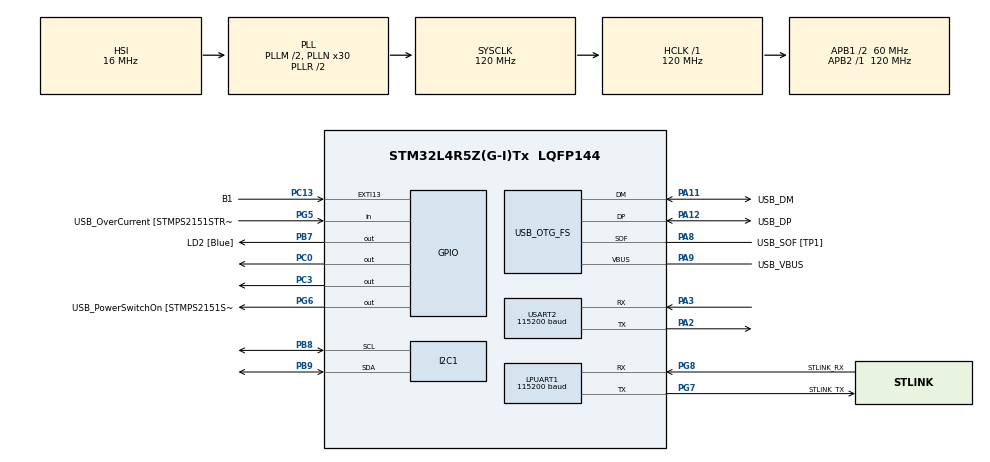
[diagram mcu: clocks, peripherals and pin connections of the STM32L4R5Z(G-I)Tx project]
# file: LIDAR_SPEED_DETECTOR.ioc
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I2C1.Timing=0x107075B0
LPUART1.BaudRate=115200
LPUART1.WordLength=UART_WORDLENGTH_8B
Mcu.Family=STM32L4
Mcu.Name=STM32L4R5Z(G-I)Tx
Mcu.Package=LQFP144
NVIC.PriorityGroup=NVIC_PRIORITYGROUP_4
PA10.GPIO_Label=USB_ID
PA10.Signal=USB_OTG_FS_ID
PA11.GPIO_Label=USB_DM
PA11.Mode=Device_Only
PA11.Signal=USB_OTG_FS_DM
PA12.GPIO_Label=USB_DP
PA12.Mode=Device_Only
PA12.Signal=USB_OTG_FS_DP
PA13\ (JTMS/SWDIO).GPIO_Label=TMS
PA13\ (JTMS/SWDIO).Mode=Trace_Asynchronous_SW
PA13\ (JTMS/SWDIO).Signal=SYS_JTMS-SWDIO
PA14\ (JTCK/SWCLK).GPIO_Label=TCK
PA14\ (JTCK/SWCLK).Mode=Trace_Asynchronous_SW
PA14\ (JTCK/SWCLK).Signal=SYS_JTCK-SWCLK
PA2.Mode=Asynchronous
PA2.Signal=USART2_TX
PA3.Mode=Asynchronous
PA3.Signal=USART2_RX
PA8.GPIO_Label=USB_SOF [TP1]
PA8.Mode=Activate_SOF_FS
PA8.Signal=USB_OTG_FS_SOF
PA9.GPIO_Label=USB_VBUS
PA9.Mode=Activate_VBUS
PA9.Signal=USB_OTG_FS_VBUS
PB3\ (JTDO/TRACESWO).GPIO_Label=SWO
PB3\ (JTDO/TRACESWO).Mode=Trace_Asynchronous_SW
PB3\ (JTDO/TRACESWO).Signal=SYS_JTDO-SWO
PB7.GPIO_Label=LD2 [Blue]
PB7.Signal=GPIO_Output
PB8.Mode=I2C
PB8.Signal=I2C1_SCL
PB9.Mode=I2C
PB9.Signal=I2C1_SDA
PC0.Signal=GPIO_Output
PC13.GPIO_Label=B1
PC13.Signal=GPXTI13
PC14-OSC32_IN\ (PC14).Mode=LSE-External-Oscillator
PC14-OSC32_IN\ (PC14).Signal=RCC_OSC32_IN
PC15-OSC32_OUT\ (PC15).Mode=LSE-External-Oscillator
PC15-OSC32_OUT\ (PC15).Signal=RCC_OSC32_OUT
PC3.Signal=GPIO_Output
PG5.GPIO_Label=USB_OverCurrent [STMPS2151STR_FAULT]
PG5.Signal=GPIO_Input
PG6.GPIO_Label=USB_PowerSwitchOn [STMPS2151STR_EN]
PG6.Signal=GPIO_Output
PG7.GPIO_Label=STLINK_TX
PG7.Mode=Asynchronous
PG7.Signal=LPUART1_TX
PG8.GPIO_Label=STLINK_RX
PG8.Mode=Asynchronous
PG8.Signal=LPUART1_RX
PH0-OSC_IN\ (PH0).Mode=HSE-External-Oscillator
PH0-OSC_IN\ (PH0).Signal=RCC_OSC_IN
PH1-OSC_OUT\ (PH1).Mode=HSE-External-Oscillator
PH1-OSC_OUT\ (PH1).Signal=RCC_OSC_OUT
ProjectManager.HeapSize=0x200
ProjectManager.StackSize=0x400
ProjectManager.TargetToolchain=STM32CubeIDE
RCC.48MHZClocksFreq_Value=24000000
RCC.ADCFreq_Value=96000000
RCC.AHBFreq_Value=120000000
RCC.APB1CLKDivider=RCC_HCLK_DIV2
RCC.APB1Freq_Value=60000000
RCC.APB1TimFreq_Value=120000000
RCC.APB2Freq_Value=120000000
RCC.APB2TimFreq_Value=120000000
RCC.CK48CLockSelection=RCC_USBCLKSOURCE_HSI48
RCC.CortexFreq_Value=120000000
RCC.HCLKFreq_Value=120000000
RCC.HSE_VALUE=8000000
RCC.HSI48_VALUE=48000000
RCC.HSI_VALUE=16000000
RCC.MSI_VALUE=4000000
RCC.PLLM1=2
RCC.PLLMUL=RCC_PLL_MUL9
RCC.PLLN=30
RCC.PLLSAI1N=12
RCC.PLLSourceVirtual=RCC_PLLSOURCE_HSI
RCC.PRESCALERUSB=RCC_USBCLKSOURCE_PLL_DIV1_5
RCC.SYSCLKFreq_VALUE=120000000
RCC.SYSCLKSource=RCC_SYSCLKSOURCE_PLLCLK
RCC.SYSCLKSourceVirtual=RCC_SYSCLKSOURCE_PLLCLK
RCC.USBFreq_Value=48000000
RCC.VCOOutputFreq_Value=240000000
USART2.BaudRate=115200
USART2.DataInvertParam=ADVFEATURE_DATAINV_DISABLE
USART2.OverrunDisableParam=ADVFEATURE_OVERRUN_DISABLE
USART2.VirtualMode-Asynchronous=VM_ASYNC
USART2.WordLength=WORDLENGTH_8B
USB_OTG_FS.VirtualMode=Device_Only
board=NUCLEO-L4R5ZI

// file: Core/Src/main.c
/* USER CODE BEGIN Header */
/**
  ******************************************************************************
  * @author			: Christopher Saji
  * @file           : main.c
  * @brief          : LIDAR Speed Detector Project
  ******************************************************************************
  * @attention
  *
  * Copyright (c) 2023 STMicroelectronics.
  * All rights reserved.
  *
  * This software is licensed under terms that can be found in the LICENSE file
  * in the root directory of this software component.
  * If no LICENSE file comes with this software, it is provided AS-IS.
  *
  ******************************************************************************
  * @materials
  *
  * STM32 NUCLEO-L4R5ZI
  *
  * Benewake TF03 LIDAR Sensor
  *
  * 1602 LCD Display
  *
  * Breadboard
  *
  * 2.54 Dupont Jumper Cables
  *
  * Molex Picoblade 1.25 mm Connector
  *
  */

/* USER CODE END Header */
#include "main.h"

/* USER CODE BEGIN Includes */

#include <string.h>
#include <stdio.h>
#include <stdlib.h>
#include <i2c-lcd.h>
#include <math.h>

/* USER CODE END Includes */

/* USER CODE BEGIN PM */

#define USART_BUF_SIZE 9

/* USER CODE END PM */

I2C_HandleTypeDef hi2c1;

UART_HandleTypeDef hlpuart1;
UART_HandleTypeDef huart2;

PCD_HandleTypeDef hpcd_USB_OTG_FS;

/* USER CODE BEGIN PV */

/*
 * @usart_rx_buf:			Buffer that contains initial stack frame from LIDAR Sensor
 * @distOne:				Int that contains first distance data from LIDAR Sensor
 * @distTwo:				Int that contains second distance data from LIDAR Sensor
 * @distDiff:				Int that contains the difference of distTwo and distOne
 * @speed_str:				String that contains formated speed data in form "Speed: *speed* mph"
 * @dist_str:				String that contains formated distance data in form "1: *distOne* | 2: *distTwo*"
 */

uint8_t usart_rx_buf[USART_BUF_SIZE];
int distOne = 0, distTwo = 0, distDiff = 0;
char speed_str[20];
char dist_str[20];

/* USER CODE END PV */

void SystemClock_Config(void);
static void MX_GPIO_Init(void);
static void MX_LPUART1_UART_Init(void);
static void MX_USB_OTG_FS_PCD_Init(void);
static void MX_USART2_UART_Init(void);
static void MX_I2C1_Init(void);
/* USER CODE BEGIN PFP */

int readLidarSensor(void);
void speedCalculate(void);

/* USER CODE END PFP */

int main(void)
{

  /* MCU Configuration--------------------------------------------------------*/

  /* Reset of all peripherals, Initializes the Flash interface and the Systick. */
  HAL_Init();

  /* Configure the system clock */
  SystemClock_Config();

  /* Initialize all configured peripherals */
  MX_GPIO_Init();
  MX_LPUART1_UART_Init();
  MX_USB_OTG_FS_PCD_Init();
  MX_USART2_UART_Init();
  MX_I2C1_Init();
  /* USER CODE BEGIN 2 */

  // Initialize LCD Display

  lcd_init();

  lcd_clear();

  lcd_put_cur(0, 0);

  /* USER CODE END 2 */

  /* Infinite loop */
  /* USER CODE BEGIN WHILE */
  while (1)
  {
	  speedCalculate();					// Calculate Speed

	  lcd_send_string(speed_str);		// Print formated data to LCD Display
	  lcd_put_cur(1,0);
	  lcd_send_string(dist_str);

	  HAL_Delay(300);					// Delay of 300 ms to prevent intense flickering of LCD

	  lcd_clear();						// Clear LCD Display
	  lcd_put_cur(0, 0);

	  memset(speed_str, 0, sizeof(speed_str));			// Reset speed_str
    /* USER CODE END WHILE */

  }
}

void SystemClock_Config(void)
{
  RCC_OscInitTypeDef RCC_OscInitStruct = {0};
  RCC_ClkInitTypeDef RCC_ClkInitStruct = {0};

  /** Configure the main internal regulator output voltage
  */
  if (HAL_PWREx_ControlVoltageScaling(PWR_REGULATOR_VOLTAGE_SCALE1_BOOST) != HAL_OK)
  {
    Error_Handler();
  }

  /** Initializes the RCC Oscillators according to the specified parameters
  * in the RCC_OscInitTypeDef structure.
  */
  RCC_OscInitStruct.OscillatorType = RCC_OSCILLATORTYPE_HSI48|RCC_OSCILLATORTYPE_HSI;
  RCC_OscInitStruct.HSIState = RCC_HSI_ON;
  RCC_OscInitStruct.HSI48State = RCC_HSI48_ON;
  RCC_OscInitStruct.HSICalibrationValue = RCC_HSICALIBRATION_DEFAULT;
  RCC_OscInitStruct.PLL.PLLState = RCC_PLL_ON;
  RCC_OscInitStruct.PLL.PLLSource = RCC_PLLSOURCE_HSI;
  RCC_OscInitStruct.PLL.PLLM = 2;
  RCC_OscInitStruct.PLL.PLLN = 30;
  RCC_OscInitStruct.PLL.PLLP = RCC_PLLP_DIV2;
  RCC_OscInitStruct.PLL.PLLQ = RCC_PLLQ_DIV2;
  RCC_OscInitStruct.PLL.PLLR = RCC_PLLR_DIV2;
  if (HAL_RCC_OscConfig(&RCC_OscInitStruct) != HAL_OK)
  {
    Error_Handler();
  }

  /** Initializes the CPU, AHB and APB buses clocks
  */
  RCC_ClkInitStruct.ClockType = RCC_CLOCKTYPE_HCLK|RCC_CLOCKTYPE_SYSCLK
                              |RCC_CLOCKTYPE_PCLK1|RCC_CLOCKTYPE_PCLK2;
  RCC_ClkInitStruct.SYSCLKSource = RCC_SYSCLKSOURCE_PLLCLK;
  RCC_ClkInitStruct.AHBCLKDivider = RCC_SYSCLK_DIV1;
  RCC_ClkInitStruct.APB1CLKDivider = RCC_HCLK_DIV2;
  RCC_ClkInitStruct.APB2CLKDivider = RCC_HCLK_DIV1;

  if (HAL_RCC_ClockConfig(&RCC_ClkInitStruct, FLASH_LATENCY_5) != HAL_OK)
  {
    Error_Handler();
  }
}

static void MX_I2C1_Init(void)
{

  hi2c1.Instance = I2C1;
  hi2c1.Init.Timing = 0x107075B0;
  hi2c1.Init.OwnAddress1 = 0;
  hi2c1.Init.AddressingMode = I2C_ADDRESSINGMODE_7BIT;
  hi2c1.Init.DualAddressMode = I2C_DUALADDRESS_DISABLE;
  hi2c1.Init.OwnAddress2 = 0;
  hi2c1.Init.OwnAddress2Masks = I2C_OA2_NOMASK;
  hi2c1.Init.GeneralCallMode = I2C_GENERALCALL_DISABLE;
  hi2c1.Init.NoStretchMode = I2C_NOSTRETCH_DISABLE;
  if (HAL_I2C_Init(&hi2c1) != HAL_OK)
  {
    Error_Handler();
  }

  /** Configure Analogue filter
  */
  if (HAL_I2CEx_ConfigAnalogFilter(&hi2c1, I2C_ANALOGFILTER_ENABLE) != HAL_OK)
  {
    Error_Handler();
  }

  /** Configure Digital filter
  */
  if (HAL_I2CEx_ConfigDigitalFilter(&hi2c1, 0) != HAL_OK)
  {
    Error_Handler();
  }

}

static void MX_LPUART1_UART_Init(void)
{

  hlpuart1.Instance = LPUART1;
  hlpuart1.Init.BaudRate = 115200;
  hlpuart1.Init.WordLength = UART_WORDLENGTH_8B;
  hlpuart1.Init.StopBits = UART_STOPBITS_1;
  hlpuart1.Init.Parity = UART_PARITY_NONE;
  hlpuart1.Init.Mode = UART_MODE_TX_RX;
  hlpuart1.Init.HwFlowCtl = UART_HWCONTROL_NONE;
  hlpuart1.Init.OneBitSampling = UART_ONE_BIT_SAMPLE_DISABLE;
  hlpuart1.Init.ClockPrescaler = UART_PRESCALER_DIV1;
  hlpuart1.AdvancedInit.AdvFeatureInit = UART_ADVFEATURE_NO_INIT;
  hlpuart1.FifoMode = UART_FIFOMODE_DISABLE;
  if (HAL_UART_Init(&hlpuart1) != HAL_OK)
  {
    Error_Handler();
  }
  if (HAL_UARTEx_SetTxFifoThreshold(&hlpuart1, UART_TXFIFO_THRESHOLD_1_8) != HAL_OK)
  {
    Error_Handler();
  }
  if (HAL_UARTEx_SetRxFifoThreshold(&hlpuart1, UART_RXFIFO_THRESHOLD_1_8) != HAL_OK)
  {
    Error_Handler();
  }
  if (HAL_UARTEx_DisableFifoMode(&hlpuart1) != HAL_OK)
  {
    Error_Handler();
  }

}

static void MX_USART2_UART_Init(void)
{

  huart2.Instance = USART2;
  huart2.Init.BaudRate = 115200;
  huart2.Init.WordLength = UART_WORDLENGTH_8B;
  huart2.Init.StopBits = UART_STOPBITS_1;
  huart2.Init.Parity = UART_PARITY_NONE;
  huart2.Init.Mode = UART_MODE_TX_RX;
  huart2.Init.HwFlowCtl = UART_HWCONTROL_NONE;
  huart2.Init.OverSampling = UART_OVERSAMPLING_16;
  huart2.Init.OneBitSampling = UART_ONE_BIT_SAMPLE_DISABLE;
  huart2.Init.ClockPrescaler = UART_PRESCALER_DIV1;
  huart2.AdvancedInit.AdvFeatureInit = UART_ADVFEATURE_RXOVERRUNDISABLE_INIT;
  huart2.AdvancedInit.OverrunDisable = UART_ADVFEATURE_OVERRUN_DISABLE;
  if (HAL_UART_Init(&huart2) != HAL_OK)
  {
    Error_Handler();
  }
  if (HAL_UARTEx_SetTxFifoThreshold(&huart2, UART_TXFIFO_THRESHOLD_1_8) != HAL_OK)
  {
    Error_Handler();
  }
  if (HAL_UARTEx_SetRxFifoThreshold(&huart2, UART_RXFIFO_THRESHOLD_1_8) != HAL_OK)
  {
    Error_Handler();
  }
  if (HAL_UARTEx_DisableFifoMode(&huart2) != HAL_OK)
  {
    Error_Handler();
  }

}

static void MX_USB_OTG_FS_PCD_Init(void)
{

  hpcd_USB_OTG_FS.Instance = USB_OTG_FS;
  hpcd_USB_OTG_FS.Init.dev_endpoints = 6;
  hpcd_USB_OTG_FS.Init.speed = PCD_SPEED_FULL;
  hpcd_USB_OTG_FS.Init.phy_itface = PCD_PHY_EMBEDDED;
  hpcd_USB_OTG_FS.Init.Sof_enable = ENABLE;
  hpcd_USB_OTG_FS.Init.low_power_enable = DISABLE;
  hpcd_USB_OTG_FS.Init.lpm_enable = DISABLE;
  hpcd_USB_OTG_FS.Init.battery_charging_enable = ENABLE;
  hpcd_USB_OTG_FS.Init.use_dedicated_ep1 = DISABLE;
  hpcd_USB_OTG_FS.Init.vbus_sensing_enable = ENABLE;
  if (HAL_PCD_Init(&hpcd_USB_OTG_FS) != HAL_OK)
  {
    Error_Handler();
  }

}

static void MX_GPIO_Init(void)
{
  GPIO_InitTypeDef GPIO_InitStruct = {0};

  /* GPIO Ports Clock Enable */
  __HAL_RCC_GPIOC_CLK_ENABLE();
  __HAL_RCC_GPIOH_CLK_ENABLE();
  __HAL_RCC_GPIOA_CLK_ENABLE();
  __HAL_RCC_GPIOG_CLK_ENABLE();
  HAL_PWREx_EnableVddIO2();
  __HAL_RCC_GPIOB_CLK_ENABLE();

  /*Configure GPIO pin Output Level */
  HAL_GPIO_WritePin(GPIOC, GPIO_PIN_0|GPIO_PIN_3, GPIO_PIN_RESET);

  /*Configure GPIO pin Output Level */
  HAL_GPIO_WritePin(USB_PowerSwitchOn_GPIO_Port, USB_PowerSwitchOn_Pin, GPIO_PIN_RESET);

  /*Configure GPIO pin Output Level */
  HAL_GPIO_WritePin(LD2_GPIO_Port, LD2_Pin, GPIO_PIN_RESET);

  /*Configure GPIO pin : B1_Pin */
  GPIO_InitStruct.Pin = B1_Pin;
  GPIO_InitStruct.Mode = GPIO_MODE_IT_RISING;
  GPIO_InitStruct.Pull = GPIO_NOPULL;
  HAL_GPIO_Init(B1_GPIO_Port, &GPIO_InitStruct);

  /*Configure GPIO pins : PC0 PC3 */
  GPIO_InitStruct.Pin = GPIO_PIN_0|GPIO_PIN_3;
  GPIO_InitStruct.Mode = GPIO_MODE_OUTPUT_PP;
  GPIO_InitStruct.Pull = GPIO_NOPULL;
  GPIO_InitStruct.Speed = GPIO_SPEED_FREQ_LOW;
  HAL_GPIO_Init(GPIOC, &GPIO_InitStruct);

  /*Configure GPIO pin : USB_OverCurrent_Pin */
  GPIO_InitStruct.Pin = USB_OverCurrent_Pin;
  GPIO_InitStruct.Mode = GPIO_MODE_INPUT;
  GPIO_InitStruct.Pull = GPIO_NOPULL;
  HAL_GPIO_Init(USB_OverCurrent_GPIO_Port, &GPIO_InitStruct);

  /*Configure GPIO pin : USB_PowerSwitchOn_Pin */
  GPIO_InitStruct.Pin = USB_PowerSwitchOn_Pin;
  GPIO_InitStruct.Mode = GPIO_MODE_OUTPUT_PP;
  GPIO_InitStruct.Pull = GPIO_NOPULL;
  GPIO_InitStruct.Speed = GPIO_SPEED_FREQ_LOW;
  HAL_GPIO_Init(USB_PowerSwitchOn_GPIO_Port, &GPIO_InitStruct);

  /*Configure GPIO pin : LD2_Pin */
  GPIO_InitStruct.Pin = LD2_Pin;
  GPIO_InitStruct.Mode = GPIO_MODE_OUTPUT_PP;
  GPIO_InitStruct.Pull = GPIO_NOPULL;
  GPIO_InitStruct.Speed = GPIO_SPEED_FREQ_LOW;
  HAL_GPIO_Init(LD2_GPIO_Port, &GPIO_InitStruct);

}

/* USER CODE BEGIN 4 */

int readLidarSensor(void)			// Reads data from LIDAR sensor and returns distance measurement
{

	/* uint16_t and uint8_t are fixed-width integer data types of sizes 16 bits and 8 bits respectively
	 * (2 bytes and 1 byte). We use fixed-width integer data types because it helps in writing portable code that
	 * maintains consistent behavior across different platforms and compilers (IMPORTANT IN EMBEDDED SYSTEMS b/c
	 * strict control of data size is required).
	 */

	int dist;

	memset(usart_rx_buf, 0, sizeof(usart_rx_buf));			// Clear the data buffer by setting to members to 0

	HAL_UART_Receive(&huart2, usart_rx_buf, 9, HAL_MAX_DELAY);			// Receive data from LIDAR sensor

	if (usart_rx_buf[1] == 0x59 && usart_rx_buf[2] == 0x59){			// Stackframe[1] and Stackframe[2] is 0x59

		dist = usart_rx_buf[3] | (usart_rx_buf[4]<<8);			// Combines low 8 bit value and high 8 bit value for a 16 bit dist value

		if (dist >= 18000){			//		 Reject values that are out of range of sensor

			HAL_GPIO_WritePin(GPIOC, GPIO_PIN_3, GPIO_PIN_SET);		// Turn off green led and turn on red led
			HAL_GPIO_WritePin(GPIOC, GPIO_PIN_0, GPIO_PIN_RESET);

			dist = 0;		// Set dist to default value of 0

		}else{

		HAL_GPIO_WritePin(GPIOC, GPIO_PIN_3, GPIO_PIN_RESET);		// Turn off red led and turn on green led
		HAL_GPIO_WritePin(GPIOC, GPIO_PIN_0, GPIO_PIN_SET);

		}
	}
	memset(usart_rx_buf, 0, sizeof(usart_rx_buf));			// Clear the data buffer
	return dist;
}

void speedCalculate(void)			// Calculates speed of moving object and formats string
{
	HAL_Delay(50);			// Delay to prevent garbage value from LIDAR sensor

	distOne = readLidarSensor();			// Read initial distance from LIDAR sensor

	HAL_Delay(50);			// Delay of 100 ms
	HAL_Delay(50);

	distTwo =  readLidarSensor();			// Read second distance from LIDAR sensor

	distDiff = fabs((distTwo - distOne));			// Compute speed by taking difference of two distance measurements
	float speedVal = (distDiff/0.1f)/44.704f;			// Divide by 0.1 (100ms == 1s) and then divide by factor of 44.704 (cm/s -> mph)

	snprintf(speed_str, sizeof(speed_str), "Speed: %.1f mph", speedVal);			// Produce formated strings
	snprintf(dist_str, sizeof(dist_str), "1: %d | 2: %d", distOne, distTwo);

}

// USED TO PRINT DATA TO TERMINAL USING UART

#ifdef __GNUC__
	#define PUTCHAR_PROTOTYPE int __io_putchar(int ch)
#else
	#define PUTCHAR_PROTOTYPE int fputc(int ch, FILE *f)
#endif

PUTCHAR_PROTOTYPE{

	HAL_UART_Transmit(&hlpuart1, (uint8_t *)&ch, 1, HAL_MAX_DELAY);

	return ch;
}

/* USER CODE END 4 */

void Error_Handler(void)
{
  __disable_irq();
  while (1)
  {
  }
}
